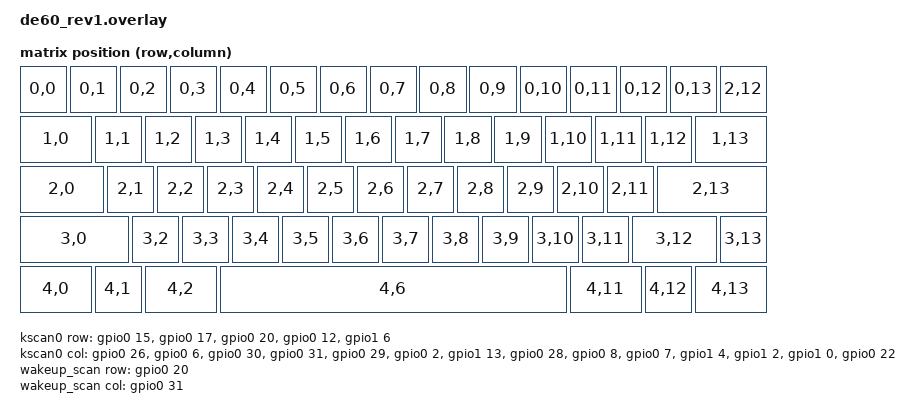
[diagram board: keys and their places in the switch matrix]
#include <dt-bindings/zmk/matrix_transform.h>
#include <physical_layouts.dtsi>
#include <dt-bindings/led/led.h>


&pinctrl {
    spi3_default: spi3_default {
        group1 {
            psels = <NRF_PSEL(SPIM_MOSI, 0, 24)>;
        };
    };
    
    spi3_sleep: spi3_sleep {
        group1 {
            psels = <NRF_PSEL(SPIM_MOSI, 0, 24)>;
            low-power-enable;
        };
    };
};

&spi3 {
    compatible = "nordic,nrf-spim";

    pinctrl-0 = <&spi3_default>;
    pinctrl-1 = <&spi3_sleep>;
    pinctrl-names = "default", "sleep";
    status = "okay";

    led_strip: ws2812@0 {
        compatible = "worldsemi,ws2812-spi";
        label = "WS2812";

        /* SPI */
        reg = <0>; /* ignored, but necessary for SPI bindings */
        spi-max-frequency = <4000000>;

        /* WS2812 */
        chain-length = <26>; /* LED strip length */
        spi-one-frame = <0x70>;
        spi-zero-frame = <0x40>;
        color-mapping = <LED_COLOR_ID_GREEN LED_COLOR_ID_RED LED_COLOR_ID_BLUE>;
    };
};

/ {
    aliases {
        indicator-r = &led0;
        indicator-g = &led1;
        indicator-b = &led2;
    };
    leds {
        /* P0.05 R, P0.04 G, P1.09 B */
        compatible = "gpio-leds";
        status = "okay";
        led0: led_0 { gpios = <&gpio0  5 GPIO_ACTIVE_LOW>; }; //r
        led1: led_1 { gpios = <&gpio0  4 GPIO_ACTIVE_LOW>; }; //g
        led2: led_2 { gpios = <&gpio1  9 GPIO_ACTIVE_LOW>; }; //b
    };

    ext-power {
        compatible = "zmk,ext-power-generic";
        label = "EXT_POWER";
        control-gpios = <&gpio1 10 GPIO_ACTIVE_HIGH>;
    };

    vbatt: vbatt {
        compatible = "zmk,battery-voltage-divider";
        io-channels = <&adc 1>; // P0.30
        output-ohms = <2000000>;
        full-ohms = <(1000000 + 2000000)>;
    };

    kscan0: kscan {
        compatible = "zmk,kscan-gpio-matrix";
        wakeup-source;
        diode-direction = "col2row";
        row-gpios
            = <&gpio0 15 (GPIO_ACTIVE_HIGH | GPIO_PULL_DOWN)>
            , <&gpio0 17 (GPIO_ACTIVE_HIGH | GPIO_PULL_DOWN)>
            , <&gpio0 20 (GPIO_ACTIVE_HIGH | GPIO_PULL_DOWN)>
            , <&gpio0 12 (GPIO_ACTIVE_HIGH | GPIO_PULL_DOWN)>
            , <&gpio1 6  (GPIO_ACTIVE_HIGH | GPIO_PULL_DOWN)>
            ;
        col-gpios
            = <&gpio0 26 GPIO_ACTIVE_HIGH>
            , <&gpio0 6  GPIO_ACTIVE_HIGH>
            , <&gpio0 30 GPIO_ACTIVE_HIGH>
            , <&gpio0 31 GPIO_ACTIVE_HIGH>
            , <&gpio0 29 GPIO_ACTIVE_HIGH>
            , <&gpio0 2  GPIO_ACTIVE_HIGH>
            , <&gpio1 13 GPIO_ACTIVE_HIGH>
            , <&gpio0 28 GPIO_ACTIVE_HIGH>
            , <&gpio0 8  GPIO_ACTIVE_HIGH>
            , <&gpio0 7  GPIO_ACTIVE_HIGH>
            , <&gpio1 4  GPIO_ACTIVE_HIGH>
            , <&gpio1 2  GPIO_ACTIVE_HIGH>
            , <&gpio1 0  GPIO_ACTIVE_HIGH>
            , <&gpio0 22 GPIO_ACTIVE_HIGH>
            ;
    };

    /* soft off */
    wakeup_scan: wakeup_scan {
        compatible = "zmk,kscan-gpio-matrix";
        wakeup-source;
        diode-direction = "col2row";
        // KEY D at RC(2,3)
        row-gpios = <&gpio0 20 (GPIO_ACTIVE_HIGH | GPIO_PULL_DOWN)>;
        col-gpios = <&gpio0 31 GPIO_ACTIVE_HIGH>;
    };

    soft_off_wakers {
        compatible = "zmk,soft-off-wakeup-sources";
        wakeup-sources = <&wakeup_scan>;
    };
    /* end of soft-off */
    
    matrix_transform_0: matrix_transform_0   {
        compatible = "zmk,matrix-transform";
        columns = <14>;
        rows = <5>;
        map = <
RC(0,0) RC(0,1) RC(0,2) RC(0,3) RC(0,4) RC(0,5) RC(0,6) RC(0,7) RC(0,8) RC(0,9) RC(0,10) RC(0,11) RC(0,12) RC(0,13) RC(2,12) 
RC(1,0) RC(1,1) RC(1,2) RC(1,3) RC(1,4) RC(1,5) RC(1,6) RC(1,7) RC(1,8) RC(1,9) RC(1,10) RC(1,11) RC(1,12) RC(1,13) 
RC(2,0) RC(2,1) RC(2,2) RC(2,3) RC(2,4) RC(2,5) RC(2,6) RC(2,7) RC(2,8) RC(2,9) RC(2,10) RC(2,11)          RC(2,13) 
RC(3,0)         RC(3,2) RC(3,3) RC(3,4) RC(3,5) RC(3,6) RC(3,7) RC(3,8) RC(3,9) RC(3,10) RC(3,11) RC(3,12) RC(3,13) 
RC(4,0) RC(4,1) RC(4,2)                         RC(4,6)                                  RC(4,11) RC(4,12) RC(4,13) 
        >;
    };
    
    chosen {
        zmk,underglow = &led_strip;
        zmk,battery = &vbatt;
        zmk,kscan = &kscan0;
        zmk,physical-layout = &layout0;
    };

    position_map {
        compatible = "zmk,physical-layout-position-map";
        complete;
    };

    layout0: layout0 {
        compatible = "zmk,physical-layout";
        display-name = "60 TSANGAN SPLIT BS RSHIFT";
        transform = <&matrix_transform_0>;

        keys  //                     w   h    x    y     rot    rx    ry
            = <&key_physical_attrs 100 100    0    0       0     0     0>
            , <&key_physical_attrs 100 100  100    0       0     0     0>
            , <&key_physical_attrs 100 100  200    0       0     0     0>
            , <&key_physical_attrs 100 100  300    0       0     0     0>
            , <&key_physical_attrs 100 100  400    0       0     0     0>
            , <&key_physical_attrs 100 100  500    0       0     0     0>
            , <&key_physical_attrs 100 100  600    0       0     0     0>
            , <&key_physical_attrs 100 100  700    0       0     0     0>
            , <&key_physical_attrs 100 100  800    0       0     0     0>
            , <&key_physical_attrs 100 100  900    0       0     0     0>
            , <&key_physical_attrs 100 100 1000    0       0     0     0>
            , <&key_physical_attrs 100 100 1100    0       0     0     0>
            , <&key_physical_attrs 100 100 1200    0       0     0     0>
            , <&key_physical_attrs 100 100 1300    0       0     0     0>
            , <&key_physical_attrs 100 100 1400    0       0     0     0>
            , <&key_physical_attrs 150 100    0  100       0     0     0>
            , <&key_physical_attrs 100 100  150  100       0     0     0>
            , <&key_physical_attrs 100 100  250  100       0     0     0>
            , <&key_physical_attrs 100 100  350  100       0     0     0>
            , <&key_physical_attrs 100 100  450  100       0     0     0>
            , <&key_physical_attrs 100 100  550  100       0     0     0>
            , <&key_physical_attrs 100 100  650  100       0     0     0>
            , <&key_physical_attrs 100 100  750  100       0     0     0>
            , <&key_physical_attrs 100 100  850  100       0     0     0>
            , <&key_physical_attrs 100 100  950  100       0     0     0>
            , <&key_physical_attrs 100 100 1050  100       0     0     0>
            , <&key_physical_attrs 100 100 1150  100       0     0     0>
            , <&key_physical_attrs 100 100 1250  100       0     0     0>
            , <&key_physical_attrs 150 100 1350  100       0     0     0>
            , <&key_physical_attrs 175 100    0  200       0     0     0>
            , <&key_physical_attrs 100 100  175  200       0     0     0>
            , <&key_physical_attrs 100 100  275  200       0     0     0>
            , <&key_physical_attrs 100 100  375  200       0     0     0>
            , <&key_physical_attrs 100 100  475  200       0     0     0>
            , <&key_physical_attrs 100 100  575  200       0     0     0>
            , <&key_physical_attrs 100 100  675  200       0     0     0>
            , <&key_physical_attrs 100 100  775  200       0     0     0>
            , <&key_physical_attrs 100 100  875  200       0     0     0>
            , <&key_physical_attrs 100 100  975  200       0     0     0>
            , <&key_physical_attrs 100 100 1075  200       0     0     0>
            , <&key_physical_attrs 100 100 1175  200       0     0     0>
            , <&key_physical_attrs 225 100 1275  200       0     0     0>
            , <&key_physical_attrs 225 100    0  300       0     0     0>
            , <&key_physical_attrs 100 100  225  300       0     0     0>
            , <&key_physical_attrs 100 100  325  300       0     0     0>
            , <&key_physical_attrs 100 100  425  300       0     0     0>
            , <&key_physical_attrs 100 100  525  300       0     0     0>
            , <&key_physical_attrs 100 100  625  300       0     0     0>
            , <&key_physical_attrs 100 100  725  300       0     0     0>
            , <&key_physical_attrs 100 100  825  300       0     0     0>
            , <&key_physical_attrs 100 100  925  300       0     0     0>
            , <&key_physical_attrs 100 100 1025  300       0     0     0>
            , <&key_physical_attrs 100 100 1125  300       0     0     0>
            , <&key_physical_attrs 175 100 1225  300       0     0     0>
            , <&key_physical_attrs 100 100 1400  300       0     0     0>
            , <&key_physical_attrs 150 100    0  400       0     0     0>
            , <&key_physical_attrs 100 100  150  400       0     0     0>
            , <&key_physical_attrs 150 100  250  400       0     0     0>
            , <&key_physical_attrs 700 100  400  400       0     0     0>
            , <&key_physical_attrs 150 100 1100  400       0     0     0>
            , <&key_physical_attrs 100 100 1250  400       0     0     0>
            , <&key_physical_attrs 150 100 1350  400       0     0     0>
            ;
    };


};
